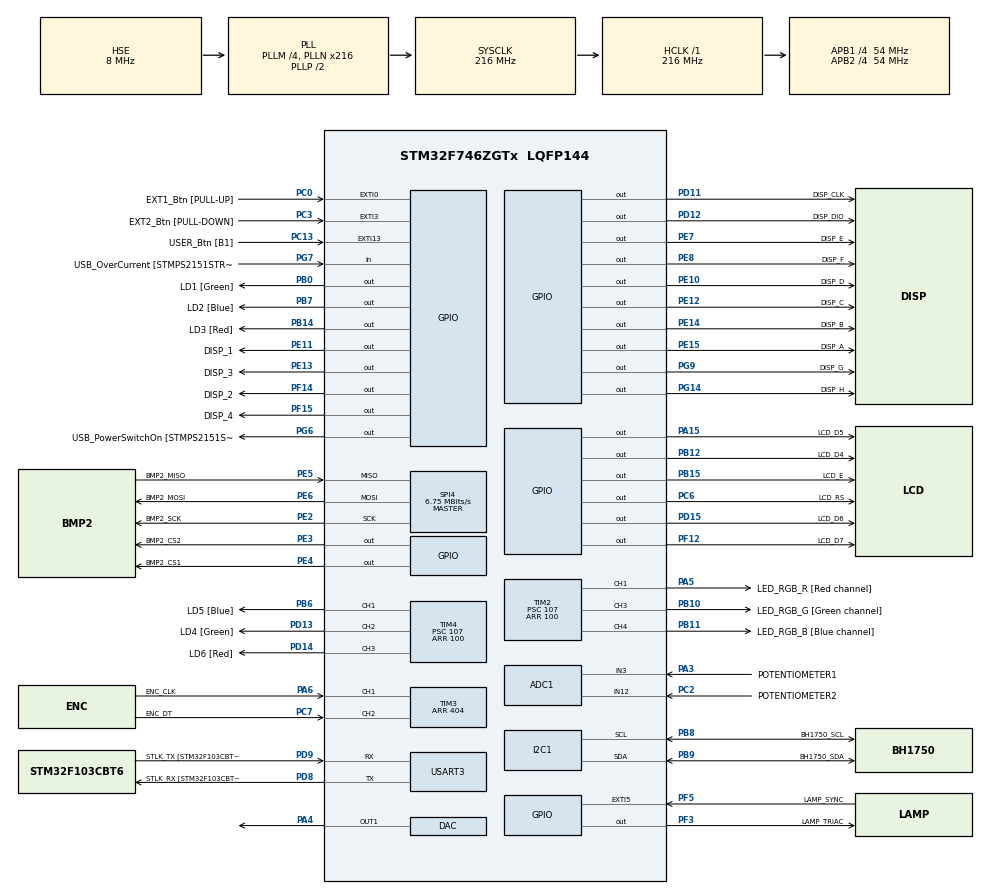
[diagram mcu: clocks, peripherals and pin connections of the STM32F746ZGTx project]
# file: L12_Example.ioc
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ADC1.Channel-0\#ChannelRegularConversion=ADC_CHANNEL_12
ADC1.Channel-1\#ChannelRegularConversion=ADC_CHANNEL_3
ADC1.DMAContinuousRequests=ENABLE
ADC1.EOCSelection=ADC_EOC_SEQ_CONV
ADC1.NbrOfConversion=2
ADC1.NbrOfConversionFlag=1
ADC1.Rank-0\#ChannelRegularConversion=1
ADC1.Rank-1\#ChannelRegularConversion=2
ADC1.SamplingTime-0\#ChannelRegularConversion=ADC_SAMPLETIME_480CYCLES
ADC1.SamplingTime-1\#ChannelRegularConversion=ADC_SAMPLETIME_480CYCLES
ADC1.master=1
ARM.CMSIS.5.7.0.CMSISJjCORE=true
ARM.CMSIS.5.7.0.CMSISJjDSP=Library
Dma.ADC1.0.Direction=DMA_PERIPH_TO_MEMORY
Dma.ADC1.0.FIFOMode=DMA_FIFOMODE_DISABLE
Dma.ADC1.0.Instance=DMA2_Stream0
Dma.ADC1.0.MemDataAlignment=DMA_MDATAALIGN_HALFWORD
Dma.ADC1.0.MemInc=DMA_MINC_ENABLE
Dma.ADC1.0.Mode=DMA_CIRCULAR
Dma.ADC1.0.PeriphDataAlignment=DMA_PDATAALIGN_HALFWORD
Dma.ADC1.0.PeriphInc=DMA_PINC_DISABLE
Dma.ADC1.0.Priority=DMA_PRIORITY_LOW
Dma.Request0=ADC1
I2C1.Timing=0x20404768
Mcu.Family=STM32F7
Mcu.Name=STM32F746ZGTx
Mcu.Package=LQFP144
NVIC.DMA2_Stream0_IRQn=true\:1\:0\:true\:false\:true\:false\:true\:true
NVIC.PriorityGroup=NVIC_PRIORITYGROUP_4
NVIC.TIM1_TRG_COM_TIM11_IRQn=true\:1\:0\:true\:false\:true\:true\:true\:true
NVIC.TIM1_UP_TIM10_IRQn=true\:1\:0\:true\:false\:true\:true\:true\:true
NVIC.TIM6_DAC_IRQn=true\:0\:0\:false\:false\:true\:true\:true\:true
NVIC.USART3_IRQn=true\:0\:0\:false\:false\:true\:true\:true\:true
PA1.GPIO_Label=RMII_REF_CLK [LAN8742A-CZ-TR_REFCLK0]
PA1.Signal=ETH_REF_CLK
PA10.GPIO_Label=USB_ID
PA10.Signal=USB_OTG_FS_ID
PA11.GPIO_Label=USB_DM
PA11.Signal=USB_OTG_FS_DM
PA12.GPIO_Label=USB_DP
PA12.Signal=USB_OTG_FS_DP
PA13.GPIO_Label=TMS
PA13.Mode=Serial_Wire
PA13.Signal=SYS_JTMS-SWDIO
PA14.GPIO_Label=TCK
PA14.Mode=Serial_Wire
PA14.Signal=SYS_JTCK-SWCLK
PA15.GPIO_Label=LCD_D5
PA15.Signal=GPIO_Output
PA2.GPIO_Label=RMII_MDIO [LAN8742A-CZ-TR_MDIO]
PA2.Signal=ETH_MDIO
PA3.GPIO_Label=POTENTIOMETER1
PA3.Signal=ADCx_IN3
PA4.Signal=COMP_DAC1_group
PA5.GPIO_Label=LED_RGB_R [Red channel]
PA5.Signal=S_TIM2_CH1_ETR
PA6.GPIO_Label=ENC_CLK
PA6.GPIO_PuPd=GPIO_NOPULL
PA6.Signal=S_TIM3_CH1
PA7.GPIO_Label=RMII_CRS_DV [LAN8742A-CZ-TR_CRS_DV]
PA7.Signal=ETH_CRS_DV
PA8.GPIO_Label=USB_SOF [TP1]
PA8.Signal=USB_OTG_FS_SOF
PA9.GPIO_Label=USB_VBUS
PA9.Signal=USB_OTG_FS_VBUS
PB0.GPIO_Label=LD1 [Green]
PB0.Signal=GPIO_Output
PB10.GPIO_Label=LED_RGB_G [Green channel]
PB10.Signal=S_TIM2_CH3
PB11.GPIO_Label=LED_RGB_B [Blue channel]
PB11.Signal=S_TIM2_CH4
PB12.GPIO_Label=LCD_D4
PB12.Signal=GPIO_Output
PB13.GPIO_Label=RMII_TXD1 [LAN8742A-CZ-TR_TXD1]
PB13.Signal=ETH_TXD1
PB14.GPIO_Label=LD3 [Red]
PB14.Signal=GPIO_Output
PB15.GPIO_Label=LCD_E
PB15.Signal=GPIO_Output
PB3.GPIO_Label=SW0
PB3.Signal=SYS_JTDO-SWO
PB6.GPIO_Label=LD5 [Blue]
PB6.Signal=S_TIM4_CH1
PB7.GPIO_Label=LD2 [Blue]
PB7.Signal=GPIO_Output
PB8.GPIO_Label=BH1750_SCL
PB8.Mode=I2C
PB8.Signal=I2C1_SCL
PB9.GPIO_Label=BH1750_SDA
PB9.Mode=I2C
PB9.Signal=I2C1_SDA
PC0.GPIO_Label=EXT1_Btn [PULL-UP]
PC0.GPIO_ModeDefaultEXTI=GPIO_MODE_IT_FALLING
PC0.GPIO_PuPd=GPIO_PULLUP
PC0.Signal=GPXTI0
PC1.GPIO_Label=RMII_MDC [LAN8742A-CZ-TR_MDC]
PC1.Signal=ETH_MDC
PC13.GPIO_Label=USER_Btn [B1]
PC13.Signal=GPXTI13
PC14/OSC32_IN.Mode=LSE-External-Oscillator
PC14/OSC32_IN.Signal=RCC_OSC32_IN
PC15/OSC32_OUT.Mode=LSE-External-Oscillator
PC15/OSC32_OUT.Signal=RCC_OSC32_OUT
PC2.GPIO_Label=POTENTIOMETER2
PC2.Signal=ADCx_IN12
PC3.GPIO_Label=EXT2_Btn [PULL-DOWN]
PC3.GPIO_PuPd=GPIO_PULLDOWN
PC3.Signal=GPXTI3
PC4.GPIO_Label=RMII_RXD0 [LAN8742A-CZ-TR_RXD0]
PC4.Signal=ETH_RXD0
PC5.GPIO_Label=RMII_RXD1 [LAN8742A-CZ-TR_RXD1]
PC5.Signal=ETH_RXD1
PC6.GPIO_Label=LCD_RS
PC6.Signal=GPIO_Output
PC7.GPIO_Label=ENC_DT
PC7.GPIO_PuPd=GPIO_NOPULL
PC7.Signal=S_TIM3_CH2
PD11.GPIO_Label=DISP_CLK
PD11.GPIO_ModeDefaultOutputPP=GPIO_MODE_OUTPUT_OD
PD11.GPIO_PuPd=GPIO_PULLUP
PD11.GPIO_Speed=GPIO_SPEED_FREQ_VERY_HIGH
PD11.Signal=GPIO_Output
PD12.GPIO_Label=DISP_DIO
PD12.GPIO_ModeDefaultOutputPP=GPIO_MODE_OUTPUT_OD
PD12.GPIO_PuPd=GPIO_PULLUP
PD12.GPIO_Speed=GPIO_SPEED_FREQ_VERY_HIGH
PD12.Signal=GPIO_Output
PD13.GPIO_Label=LD4 [Green]
PD13.Signal=S_TIM4_CH2
PD14.GPIO_Label=LD6 [Red]
PD14.Signal=S_TIM4_CH3
PD15.GPIO_Label=LCD_D6
PD15.Signal=GPIO_Output
PD8.GPIO_Label=STLK_RX [STM32F103CBT6_PA3]
PD8.Mode=Asynchronous
PD8.Signal=USART3_TX
PD9.GPIO_Label=STLK_TX [STM32F103CBT6_PA2]
PD9.Mode=Asynchronous
PD9.Signal=USART3_RX
PE10.GPIO_Label=DISP_D
PE10.GPIO_ModeDefaultOutputPP=GPIO_MODE_OUTPUT_OD
PE10.GPIO_PuPd=GPIO_PULLUP
PE10.GPIO_Speed=GPIO_SPEED_FREQ_VERY_HIGH
PE10.Signal=GPIO_Output
PE11.GPIO_Label=DISP_1
PE11.GPIO_Speed=GPIO_SPEED_FREQ_VERY_HIGH
PE11.Signal=GPIO_Output
PE12.GPIO_Label=DISP_C
PE12.GPIO_ModeDefaultOutputPP=GPIO_MODE_OUTPUT_OD
PE12.GPIO_PuPd=GPIO_PULLUP
PE12.GPIO_Speed=GPIO_SPEED_FREQ_VERY_HIGH
PE12.Signal=GPIO_Output
PE13.GPIO_Label=DISP_3
PE13.GPIO_Speed=GPIO_SPEED_FREQ_VERY_HIGH
PE13.Signal=GPIO_Output
PE14.GPIO_Label=DISP_B
PE14.GPIO_ModeDefaultOutputPP=GPIO_MODE_OUTPUT_OD
PE14.GPIO_PuPd=GPIO_PULLUP
PE14.GPIO_Speed=GPIO_SPEED_FREQ_VERY_HIGH
PE14.Signal=GPIO_Output
PE15.GPIO_Label=DISP_A
PE15.GPIO_ModeDefaultOutputPP=GPIO_MODE_OUTPUT_OD
PE15.GPIO_PuPd=GPIO_PULLUP
PE15.GPIO_Speed=GPIO_SPEED_FREQ_VERY_HIGH
PE15.Signal=GPIO_Output
PE2.GPIO_Label=BMP2_SCK
PE2.Mode=Full_Duplex_Master
PE2.Signal=SPI4_SCK
PE3.GPIO_Label=BMP2_CS2
PE3.Signal=GPIO_Output
PE4.GPIO_Label=BMP2_CS1
PE4.Signal=GPIO_Output
PE5.GPIO_Label=BMP2_MISO
PE5.Mode=Full_Duplex_Master
PE5.Signal=SPI4_MISO
PE6.GPIO_Label=BMP2_MOSI
PE6.Mode=Full_Duplex_Master
PE6.Signal=SPI4_MOSI
PE7.GPIO_Label=DISP_E
PE7.GPIO_ModeDefaultOutputPP=GPIO_MODE_OUTPUT_OD
PE7.GPIO_PuPd=GPIO_PULLUP
PE7.GPIO_Speed=GPIO_SPEED_FREQ_VERY_HIGH
PE7.Signal=GPIO_Output
PE8.GPIO_Label=DISP_F
PE8.GPIO_ModeDefaultOutputPP=GPIO_MODE_OUTPUT_OD
PE8.GPIO_PuPd=GPIO_PULLUP
PE8.GPIO_Speed=GPIO_SPEED_FREQ_VERY_HIGH
PE8.Signal=GPIO_Output
PF12.GPIO_Label=LCD_D7
PF12.Signal=GPIO_Output
PF14.GPIO_Label=DISP_2
PF14.GPIO_Speed=GPIO_SPEED_FREQ_VERY_HIGH
PF14.Signal=GPIO_Output
PF15.GPIO_Label=DISP_4
PF15.GPIO_Speed=GPIO_SPEED_FREQ_VERY_HIGH
PF15.Signal=GPIO_Output
PF3.GPIO_Label=LAMP_TRIAC
PF3.GPIO_Speed=GPIO_SPEED_FREQ_HIGH
PF3.Signal=GPIO_Output
PF5.GPIO_Label=LAMP_SYNC
PF5.Signal=GPXTI5
PG11.GPIO_Label=RMII_TX_EN [LAN8742A-CZ-TR_TXEN]
PG11.Signal=ETH_TX_EN
PG13.GPIO_Label=RMII_TXD0 [LAN8742A-CZ-TR_TXD0]
PG13.Signal=ETH_TXD0
PG14.GPIO_Label=DISP_H
PG14.GPIO_ModeDefaultOutputPP=GPIO_MODE_OUTPUT_OD
PG14.GPIO_PuPd=GPIO_PULLUP
PG14.GPIO_Speed=GPIO_SPEED_FREQ_VERY_HIGH
PG14.Signal=GPIO_Output
PG6.GPIO_Label=USB_PowerSwitchOn [STMPS2151STR_EN]
PG6.Signal=GPIO_Output
PG7.GPIO_Label=USB_OverCurrent [STMPS2151STR_FAULT]
PG7.Signal=GPIO_Input
PG9.GPIO_Label=DISP_G
PG9.GPIO_ModeDefaultOutputPP=GPIO_MODE_OUTPUT_OD
PG9.GPIO_PuPd=GPIO_PULLUP
PG9.GPIO_Speed=GPIO_SPEED_FREQ_VERY_HIGH
PG9.Signal=GPIO_Output
PH0/OSC_IN.GPIO_Label=MCO [STM32F103CBT6_PA8]
PH0/OSC_IN.Mode=HSE-External-Clock-Source
PH0/OSC_IN.Signal=RCC_OSC_IN
PH1/OSC_OUT.Mode=HSE-External-Clock-Source
PH1/OSC_OUT.Signal=RCC_OSC_OUT
ProjectManager.HeapSize=0x200
ProjectManager.StackSize=0x400
ProjectManager.TargetToolchain=STM32CubeIDE
RCC.48MHZClocksFreq_Value=24000000
RCC.AHBFreq_Value=216000000
RCC.APB1CLKDivider=RCC_HCLK_DIV4
RCC.APB1Freq_Value=54000000
RCC.APB1TimFreq_Value=108000000
RCC.APB2CLKDivider=RCC_HCLK_DIV4
RCC.APB2Freq_Value=54000000
RCC.APB2TimFreq_Value=108000000
RCC.CortexFreq_Value=216000000
RCC.HCLKFreq_Value=216000000
RCC.HSE_VALUE=8000000
RCC.HSI_VALUE=16000000
RCC.PLLM=4
RCC.PLLMUL=RCC_PLL_MUL9
RCC.PLLN=216
RCC.PLLQ=3
RCC.PLLSourceVirtual=RCC_PLLSOURCE_HSE
RCC.PRESCALERUSB=RCC_USBCLKSOURCE_PLL_DIV1_5
RCC.SYSCLKFreq_VALUE=216000000
RCC.SYSCLKSource=RCC_SYSCLKSOURCE_PLLCLK
RCC.SYSCLKSourceVirtual=RCC_SYSCLKSOURCE_PLLCLK
RCC.USART3CLockSelection=RCC_USART3CLKSOURCE_SYSCLK
RCC.USBFreq_Value=144000000
RCC.VCOOutputFreq_Value=432000000
SH.ADCx_IN12.0=ADC1_IN12,IN12
SH.ADCx_IN3.0=ADC1_IN3,IN3
SH.COMP_DAC1_group.0=DAC_OUT1,DAC_OUT1
SH.S_TIM2_CH1_ETR.0=TIM2_CH1,PWM Generation1 CH1
SH.S_TIM2_CH3.0=TIM2_CH3,PWM Generation3 CH3
SH.S_TIM2_CH4.0=TIM2_CH4,PWM Generation4 CH4
SH.S_TIM3_CH1.0=TIM3_CH1,Encoder_Interface
SH.S_TIM3_CH2.0=TIM3_CH2,Encoder_Interface
SH.S_TIM4_CH1.0=TIM4_CH1,PWM Generation1 CH1
SH.S_TIM4_CH2.0=TIM4_CH2,PWM Generation2 CH2
SH.S_TIM4_CH3.0=TIM4_CH3,PWM Generation3 CH3
SPI4.BaudRatePrescaler=SPI_BAUDRATEPRESCALER_8
SPI4.CLKPhase=SPI_PHASE_2EDGE
SPI4.CLKPolarity=SPI_POLARITY_HIGH
SPI4.CalculateBaudRate=6.75 MBits/s
SPI4.DataSize=SPI_DATASIZE_8BIT
SPI4.Direction=SPI_DIRECTION_2LINES
SPI4.Mode=SPI_MODE_MASTER
SPI4.VirtualType=VM_MASTER
TIM10.Period=49999
TIM10.Prescaler=107
TIM11.Period=49999
TIM11.Prescaler=107
TIM2.Channel-PWM\ Generation1\ CH1=TIM_CHANNEL_1
TIM2.Channel-PWM\ Generation3\ CH3=TIM_CHANNEL_3
TIM2.Channel-PWM\ Generation4\ CH4=TIM_CHANNEL_4
TIM2.Period=100
TIM2.Prescaler=107
TIM3.EncoderMode=TIM_ENCODERMODE_TI12
TIM3.IC1Filter=15
TIM3.IC1Polarity=TIM_ICPOLARITY_FALLING
TIM3.IC2Filter=15
TIM3.IC2Polarity=TIM_ICPOLARITY_FALLING
TIM3.Period=404
TIM4.Channel-PWM\ Generation1\ CH1=TIM_CHANNEL_1
TIM4.Channel-PWM\ Generation2\ CH2=TIM_CHANNEL_2
TIM4.Channel-PWM\ Generation3\ CH3=TIM_CHANNEL_3
TIM4.Period=100
TIM4.Prescaler=107
TIM6.Period=4999
TIM6.Prescaler=107
TIM7.Prescaler=107
USART3.VirtualMode-Asynchronous=VM_ASYNC
VP_ARM.CMSIS_VS_CMSISJjCORE_5.4.0_5.7.0.Mode=CMSISJjCORE
VP_ARM.CMSIS_VS_CMSISJjDSP_1.8.0_5.7.0.Mode=CMSISJjDSP
VP_TIM10_VS_ClockSourceINT.Mode=Enable_Timer
VP_TIM11_VS_ClockSourceINT.Mode=Enable_Timer
VP_TIM2_VS_ClockSourceINT.Mode=Internal
VP_TIM4_VS_ClockSourceINT.Mode=Internal
VP_TIM6_VS_ClockSourceINT.Mode=Enable_Timer
VP_TIM7_VS_ClockSourceINT.Mode=Enable_Timer
board=NUCLEO-F746ZG

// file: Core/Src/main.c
/* USER CODE BEGIN Header */
/**
  ******************************************************************************
  * @file           : main.c
  * @brief          : Main program body
  ******************************************************************************
  * @attention
  *
  * Copyright (c) 2022 STMicroelectronics.
  * All rights reserved.
  *
  * This software is licensed under terms that can be found in the LICENSE file
  * in the root directory of this software component.
  * If no LICENSE file comes with this software, it is provided AS-IS.
  *
  ******************************************************************************
  */
/* USER CODE END Header */
#include "main.h"
#include "adc.h"
#include "dac.h"
#include "dma.h"
#include "i2c.h"
#include "spi.h"
#include "tim.h"
#include "usart.h"
#include "gpio.h"

/* USER CODE BEGIN Includes */
#include <stdlib.h>
#include "led_config.h"
#include "btn_config.h"
#include "encoder_config.h"
#include "bh1750_config.h"
#include "bmp2_config.h"
#include "aio.h"
#include "arm_math.h"
#include "disp_config.h"
#include "lcd_config.h"
#include "menu_config.h"
extern unsigned int ADC1_ConvResults_mV[16];
/* USER CODE END Includes */

/* USER CODE BEGIN PD */
#define FIR_NUM_TAPS (sizeof(fir_coeffs)/sizeof(float32_t))
/* USER CODE END PD */

/* USER CODE BEGIN PV */
uint8_t RxData[8];
const uint16_t RX_DATA_LEN = 3;
uint16_t ADC1_DATA[16];
arm_fir_instance_f32 fir[2];
const uint32_t fir_coeffs[] = {
  #include "fir_coeffs.csv"
};
float32_t fir_state[2][64];
/* USER CODE END PV */

void SystemClock_Config(void);

/* USER CODE BEGIN 0 */

/**
  * @brief  Period elapsed callback in non-blocking mode
  * @param  htim TIM handle
  * @retval None
  */
void HAL_TIM_PeriodElapsedCallback(TIM_HandleTypeDef *htim)
{
  if(htim == htim_disp)
  {
    DISP_DIO_ROUTINE(&hdisp1);
  }
  else if(htim == hmenu.Timer)
  {
    if(BTN_DIO_EdgeDetected(&hbtn2) == BTN_PRESSED_EDGE && hmenu.Item->Next != NULL)
    {
      hmenu.Item = hmenu.Item->Next;
      hmenu.ItemChanged = 1;
    }

    if(BTN_DIO_EdgeDetected(&hbtn1) == BTN_PRESSED_EDGE && hmenu.Item->Prev != NULL)
    {
      hmenu.Item = hmenu.Item->Prev;
      hmenu.ItemChanged = 1;
    }

    MENU_ROUTINE(&hmenu);

    DISP_DIO_printDecUInt(&hdisp1, ADC1_ConvResults_mV[0]);
    DISP_TM1637_printDecUInt(&hdisp2, ADC1_ConvResults_mV[1]);
  }
  else if(htim == htim_inputs)
  {
    static int time_ms = 0;

    HAL_ADC_Start_DMA(&hadc1, (uint32_t*)ADC1_DATA, hadc1.Init.NbrOfConversion);

    if(time_ms % 200 == 0)
      BH1750_ReadIlluminance_lux(&hbh1750_1);

    if(time_ms % 250 == 0)
      BMP2_ReadTemperature_degC(&bmp2dev_1);

    time_ms += 50;
    if(time_ms == 1000)
      time_ms = 0;
  }
}

/**
  * @brief  Regular conversion complete callback in non blocking mode
  * @param  hadc pointer to a ADC_HandleTypeDef structure that contains
  *         the configuration information for the specified ADC.
  * @retval None
  */
void HAL_ADC_ConvCpltCallback(ADC_HandleTypeDef* hadc)
{
  if(hadc == &hadc1)
  {
    for(int i = 0; i < hadc1.Init.NbrOfConversion; i++)
    {
      float in_tmp = ADC_REG2VOLTAGE(ADC1_DATA[i]);
      float out_tmp;
      arm_fir_f32(&fir[i], &in_tmp, &out_tmp, 1);
      if(abs(ADC1_ConvResults_mV[i] - (uint16_t)out_tmp) > 10)
        ADC1_ConvResults_mV[i] = out_tmp;
    }
  }
}

/**
  * @brief  Rx Transfer completed callback.
  * @param  huart UART handle.
  * @retval None
  */
void HAL_UART_RxCpltCallback(UART_HandleTypeDef *huart)
{
  if(huart == hmenu.SerialPort)
  {
	 int dac_value;
	 int n = sscanf((uint8_t*)RxData, "%x", &dac_value);
	 if(n == 1)
		 HAL_DAC_SetValue(&hdac, DAC_CHANNEL_1, DAC_ALIGN_12B_R, dac_value);
	 HAL_UART_Receive_IT(hmenu.SerialPort, RxData, RX_DATA_LEN);
  }
}

/* USER CODE END 0 */

int main(void)
{

  /* MCU Configuration--------------------------------------------------------*/

  /* Reset of all peripherals, Initializes the Flash interface and the Systick. */
  HAL_Init();

  /* Configure the system clock */
  SystemClock_Config();

  /* Initialize all configured peripherals */
  MX_GPIO_Init();
  MX_DMA_Init();
  MX_USART3_UART_Init();
  MX_TIM6_Init();
  MX_I2C1_Init();
  MX_TIM7_Init();
  MX_TIM10_Init();
  MX_TIM11_Init();
  MX_TIM3_Init();
  MX_TIM4_Init();
  MX_TIM2_Init();
  MX_SPI4_Init();
  MX_ADC1_Init();
  MX_DAC_Init();
  /* USER CODE BEGIN 2 */
  arm_fir_init_f32(&fir[0], FIR_NUM_TAPS, (const float32_t*)fir_coeffs, fir_state[0], 1);
  arm_fir_init_f32(&fir[1], FIR_NUM_TAPS, (const float32_t*)fir_coeffs, fir_state[1], 1);

  BH1750_Init(&hbh1750_1);
  BMP2_Init(&bmp2dev_1);

  LED_PWM_Init(&hldr2);
  LED_PWM_Init(&hldg2);
  LED_PWM_Init(&hldb2);
  LED_PWM_Init(&hldr3);
  LED_PWM_Init(&hldg3);
  LED_PWM_Init(&hldb3);

  ENC_Init(&henc1);

  LCD_DIO_Init(&hlcd1);
  DISP_TM1637_Init(&hdisp2);

  MENU_Init(&hmenu);

  HAL_DAC_Start(&hdac, DAC_CHANNEL_1);

  HAL_TIM_Base_Start_IT(htim_disp);
  HAL_TIM_Base_Start_IT(htim_inputs);
  HAL_TIM_Base_Start_IT(hmenu.Timer);

  HAL_UART_Receive_IT(hmenu.SerialPort, RxData, RX_DATA_LEN);
  /* USER CODE END 2 */

  /* Infinite loop */
  /* USER CODE BEGIN WHILE */
  while (1)
  {
    // Empty loop
    /* USER CODE END WHILE */

  }
}

void SystemClock_Config(void)
{
  RCC_OscInitTypeDef RCC_OscInitStruct = {0};
  RCC_ClkInitTypeDef RCC_ClkInitStruct = {0};

  /** Configure LSE Drive Capability
  */
  HAL_PWR_EnableBkUpAccess();

  /** Configure the main internal regulator output voltage
  */
  __HAL_RCC_PWR_CLK_ENABLE();
  __HAL_PWR_VOLTAGESCALING_CONFIG(PWR_REGULATOR_VOLTAGE_SCALE1);

  /** Initializes the RCC Oscillators according to the specified parameters
  * in the RCC_OscInitTypeDef structure.
  */
  RCC_OscInitStruct.OscillatorType = RCC_OSCILLATORTYPE_HSE;
  RCC_OscInitStruct.HSEState = RCC_HSE_BYPASS;
  RCC_OscInitStruct.PLL.PLLState = RCC_PLL_ON;
  RCC_OscInitStruct.PLL.PLLSource = RCC_PLLSOURCE_HSE;
  RCC_OscInitStruct.PLL.PLLM = 4;
  RCC_OscInitStruct.PLL.PLLN = 216;
  RCC_OscInitStruct.PLL.PLLP = RCC_PLLP_DIV2;
  RCC_OscInitStruct.PLL.PLLQ = 3;
  if (HAL_RCC_OscConfig(&RCC_OscInitStruct) != HAL_OK)
  {
    Error_Handler();
  }

  /** Activate the Over-Drive mode
  */
  if (HAL_PWREx_EnableOverDrive() != HAL_OK)
  {
    Error_Handler();
  }

  /** Initializes the CPU, AHB and APB buses clocks
  */
  RCC_ClkInitStruct.ClockType = RCC_CLOCKTYPE_HCLK|RCC_CLOCKTYPE_SYSCLK
                              |RCC_CLOCKTYPE_PCLK1|RCC_CLOCKTYPE_PCLK2;
  RCC_ClkInitStruct.SYSCLKSource = RCC_SYSCLKSOURCE_PLLCLK;
  RCC_ClkInitStruct.AHBCLKDivider = RCC_SYSCLK_DIV1;
  RCC_ClkInitStruct.APB1CLKDivider = RCC_HCLK_DIV4;
  RCC_ClkInitStruct.APB2CLKDivider = RCC_HCLK_DIV4;

  if (HAL_RCC_ClockConfig(&RCC_ClkInitStruct, FLASH_LATENCY_7) != HAL_OK)
  {
    Error_Handler();
  }
}

void Error_Handler(void)
{
  __disable_irq();
  while (1)
  {
  }
}
